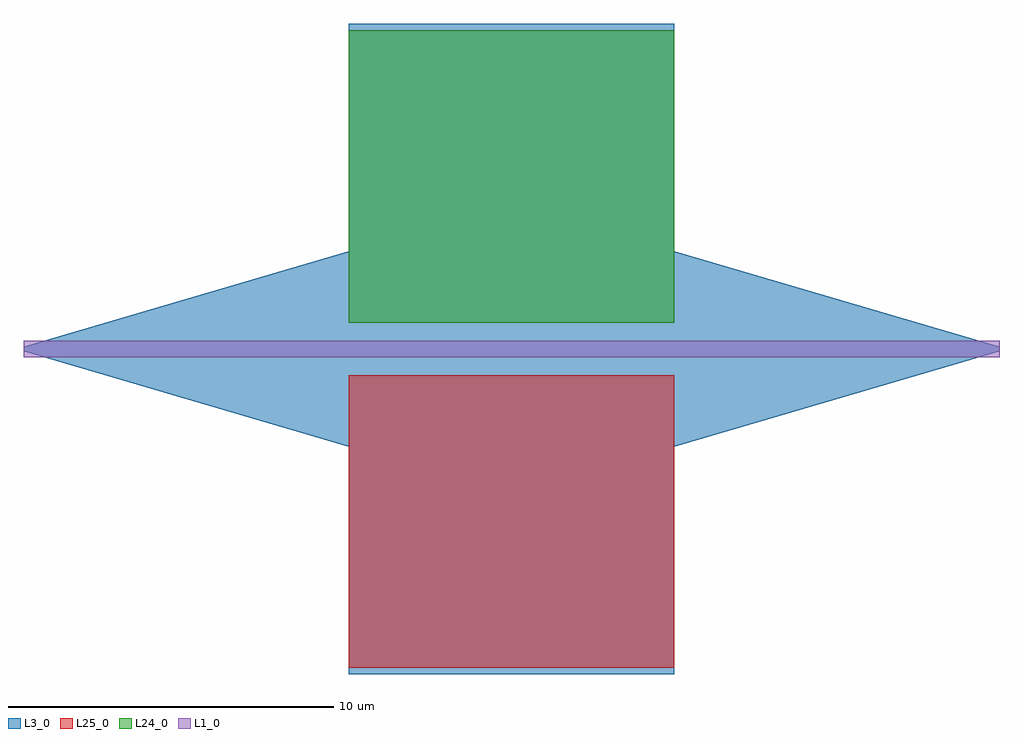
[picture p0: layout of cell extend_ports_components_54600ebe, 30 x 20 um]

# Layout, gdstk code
import gdstk
lib = gdstk.Library(unit=1e-6, precision=1e-09)
def R(c, l, rs):  # rectangles x0, y0, x1, y1
    for r in rs: c.add(gdstk.rectangle(r[:2], r[2:], *l))
def P(c, l, *ps):  # polygons
    for p in ps: c.add(gdstk.Polygon(p, *l))
L1_0 = (1, 0)
L3_0 = (3, 0)
L24_0 = (24, 0)
L25_0 = (25, 0)

straight_cross_sectionpi = lib.new_cell('straight_cross_sectionpin')
R(straight_cross_sectionpi, L1_0, [(0,-0.25,10,0.25)])
R(straight_cross_sectionpi, L3_0, [(0,-10,10,10)])
R(straight_cross_sectionpi, L24_0, [(0,0.8,10,9.8)])
R(straight_cross_sectionpi, L25_0, [(0,-9.8,10,-0.8)])

extend_ports_components_ = lib.new_cell('extend_ports_components_54600ebe')
R(extend_ports_components_, L1_0, [(-10,-0.25,0,0.25), (10,-0.25,20,0.25)])
P(extend_ports_components_, L3_0, [(-10,0.075),(0,3),(0,-3),(-10,-0.075)],
  [(20,-0.075),(10,-3),(10,3),(20,0.075)])
extend_ports_components_.add(gdstk.Reference(straight_cross_sectionpi, (0,0)))

lib.write_gds('extend_ports_components_54600ebe.gds')
